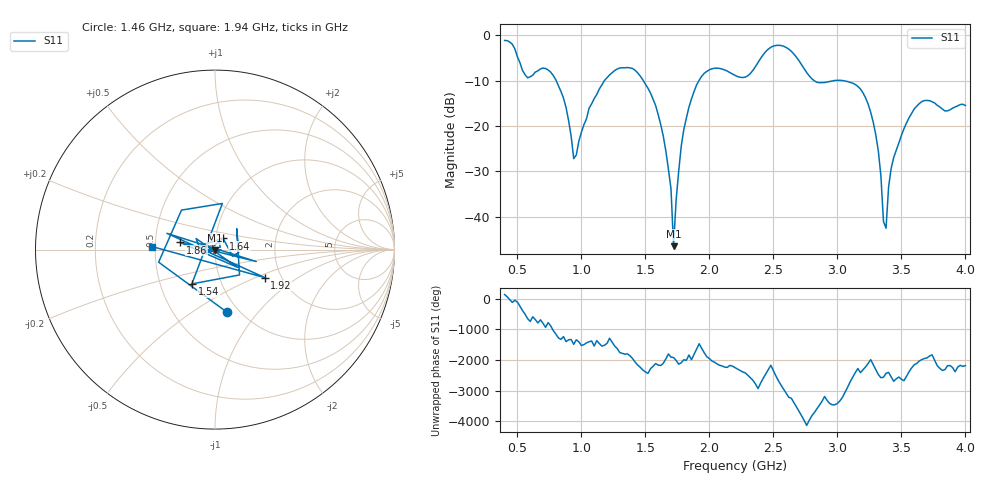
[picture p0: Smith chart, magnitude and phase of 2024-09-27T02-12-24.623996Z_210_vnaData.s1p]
!Created with skrf (http://scikit-rf.org).
# Hz S RI R 50.0
!freq ReS11 ImS11
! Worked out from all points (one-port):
!   181 points, 400 MHz to 4 GHz, reference 50 ohm
!   lowest |S11| = -46.4 dB at 1.72 GHz (marker M1), VSWR 1.01, Z = 49.8 - j0.415 ohm
!   |S11| at or under -10 dB: 802.7 MHz to 1.18 GHz (377.3 MHz wide, 38.1 % of centre); 1.483 GHz to 1.919 GHz (435.7 MHz wide, 25.6 % of centre); 3.039 GHz to end of sweep (the widest 3 of 4)
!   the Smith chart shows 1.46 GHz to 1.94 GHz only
!   S11 on the Smith chart (normalised r, x): 1.46 GHz: 0.88, -0.70; 1.54 GHz: 0.72, -0.29; 1.64 GHz: 1.09, +0.14; 1.86 GHz: 0.67, +0.06; 1.92 GHz: 1.65, -0.57; 1.94 GHz: 0.48, +0.02
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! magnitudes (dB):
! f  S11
! 400 MHz  -1.2
! 580 MHz  -9.4
! 740 MHz  -7.7
! 860 MHz  -13.9
! 940 MHz  -27.2
! 1.06 GHz  -16.1
! 1.3 GHz  -7.2
! 1.46 GHz  -9.0
! 1.54 GHz  -12.8
! 1.64 GHz  -22.3
! 1.7 GHz  -33.8
! 1.72 GHz  -46.4
! 1.76 GHz  -30.0
! 1.86 GHz  -14.0
! 1.92 GHz  -9.9
! 1.94 GHz  -9.1
! 2.2 GHz  -8.9
! 2.5 GHz  -2.4
! 2.66 GHz  -4.2
! 2.84 GHz  -10.4
! 3.1 GHz  -10.4
! 3.28 GHz  -19.2
! 3.32 GHz  -25.5
! 3.36 GHz  -41.0
! 3.38 GHz  -42.5
! 3.42 GHz  -29.3
! 3.56 GHz  -18.2
! 4 GHz  -15.5
